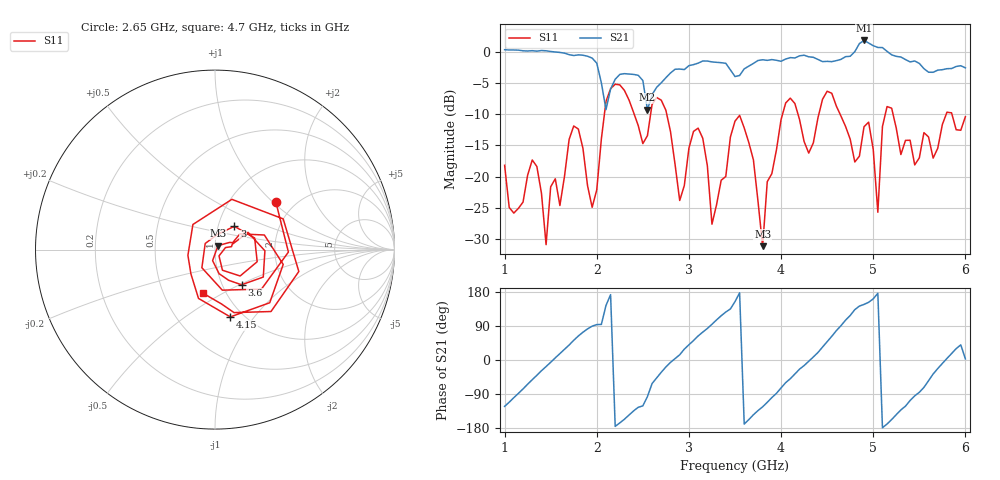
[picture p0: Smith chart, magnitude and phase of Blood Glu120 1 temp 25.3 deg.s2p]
! NanoVNA-App
! Date: 2024-03-21 14:38:46
! Start: 1GHz Stop: 6GHz Points: 101
! S-Parameter data: F S11 S21 S12 S22
# Hz S RI R 50
!	Frequency	S11_Real	S11_Imag	S21_Real	S21_Imag	S12_Real	S12_Imag	S22_Real	S22_Imag
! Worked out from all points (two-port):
!   101 points, 1 GHz to 6 GHz, reference 50 ohm
!   highest |S21| = 1.81 dB at 4.9 GHz (marker M1); lowest = -9.3 dB at 2.55 GHz (marker M2)
!   |S21| within 3 dB of the highest: start of sweep to 1.961 GHz; 4.654 GHz to 5.342 GHz (688.7 MHz wide, 13.8 % of centre)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
!   lowest |S11| = -31.1 dB at 3.8 GHz (marker M3), VSWR 1.06, Z = 51.6 + j2.29 ohm
!   |S11| at or under -10 dB: start of sweep to 2.083 GHz; 2.759 GHz to 4.016 GHz (1.257 GHz wide, 37.1 % of centre); 5.215 GHz to 5.792 GHz (577 MHz wide, 10.5 % of centre)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
!   S12 and S22 are empty: the file has one direction only
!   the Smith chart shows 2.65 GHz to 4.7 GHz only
!   S11 on the Smith chart (normalised r, x): 2.65 GHz: 1.61, +1.05; 3 GHz: 1.20, +0.32; 3.6 GHz: 1.23, -0.51; 4.15 GHz: 0.87, -0.77; 4.7 GHz: 0.78, -0.41
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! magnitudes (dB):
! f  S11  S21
! 1 GHz  -18.2  0.3
! 1.35 GHz  -18.4  0.1
! 1.45 GHz  -30.9  0.2
! 1.85 GHz  -15.5  -0.5
! 1.95 GHz  -24.9  -1.0
! 2.15 GHz  -5.9  -6.0
! 2.55 GHz  -13.4  -9.3
! 2.65 GHz  -7.3  -5.7
! 2.7 GHz  -7.8  -5.0
! 2.9 GHz  -23.8  -2.8
! 3 GHz  -15.4  -2.2
! 3.25 GHz  -27.6  -1.6
! 3.5 GHz  -11.1  -4.0
! 3.6 GHz  -12.2  -2.7
! 3.8 GHz  -31.1  -1.3
! 4.15 GHz  -8.3  -1.0
! 4.35 GHz  -14.6  -0.9
! 4.7 GHz  -12.0  -0.8
! 4.9 GHz  -12.0  1.8
! 5.05 GHz  -25.7  0.7
! 5.2 GHz  -9.0  -0.5
! 6 GHz  -10.4  -2.6
